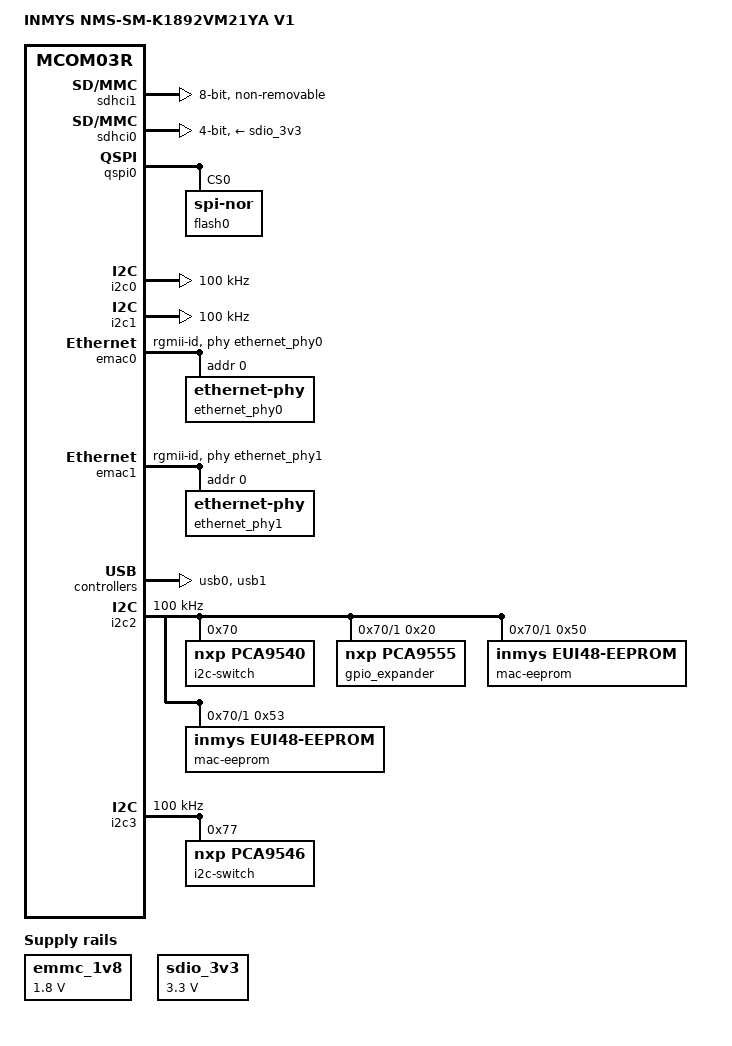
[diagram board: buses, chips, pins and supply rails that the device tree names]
// SPDX-License-Identifier: GPL-2.0+
/*
 * INMYS NMS-SM-K1892VM21YA V1 - U-Boot module description
 *
 * Copyright (C) 2026 INMYS
 */

/dts-v1/;

#include <dt-bindings/gpio/gpio.h>

#include "mcom03r.dtsi"

/ {
	model = "INMYS NMS-SM-K1892VM21YA V1";
	compatible = "inmys,nms-sm-k1892vm21ya",
		     "inmys,nms-sm-k1892",
		     "elvees,mcom03r";

	aliases {
		i2c_pm = &i2c0;
		i2c_gp = &i2c1;
		mmc0 = &sdhci0;
		mmc1 = &sdhci1;
	};

	emmc_1v8: regulator-emmc-1v8 {
		compatible = "regulator-fixed";
		regulator-name = "emmc-1v8";
		regulator-min-microvolt = <1800000>;
		regulator-max-microvolt = <1800000>;
		regulator-always-on;
	};

	sdio_3v3: regulator-sdio-3v3 {
		compatible = "regulator-fixed";
		regulator-name = "sdio-3v3";
		regulator-min-microvolt = <3300000>;
		regulator-max-microvolt = <3300000>;
		regulator-always-on;
	};
};

/* eMMC (D20) on SDMMC1 */
&sdhci1 {
	status = "okay";

	non-removable;
	bus-width = <8>;
	vqmmc-supply = <&emmc_1v8>;
};

/* SMARC SDIO on SDMMC0 */
/* SMARC SDIO (4 bit, 3.3 V only) */
&sdhci0 {
	status = "okay";

	bus-width = <4>;
	vmmc-supply = <&sdio_3v3>;
	vqmmc-supply = <&sdio_3v3>;
	no-1-8-v;
	/*
	 * SDMMC0_CDN (ball BB1) -> SMARC SDIO_CD# (P35).  The controller
	 * reports it in Present State bit 16, so no broken-cd: polling an
	 * empty slot every 10 s is pure noise.
	 */
};

/* Boot flash (D21 W25Q128, 16 MiB) */
&qspi0 {
	status = "okay";

	flash0: flash@0 {
		compatible = "jedec,spi-nor", "spi-flash";
		reg = <0x0>;
		spi-tx-bus-width = <4>;
		spi-rx-bus-width = <4>;
	};
};

/* SMARC serial ports */
ser0: &uart3 { };
ser1: &uart0 { };
ser2: &uart2 { };
ser3: &uart1 { };

/*
 * SMARC I2C_PM (X1.P121/P122) and I2C_GP (X1.S48/S49).  Both are plain
 * module-level buses that go straight to the carrier, so they are enabled
 * unconditionally: nothing is probed on them automatically, they are only
 * used by hand (`i2c dev` / `i2c probe`) and by the carrier device nodes.
 */
i2c_pm: &i2c0 {
	status = "okay";
	clock-frequency = <100000>;
};

i2c_gp: &i2c1 {
	status = "okay";
	clock-frequency = <100000>;
};

/* Ethernet PHYs D9A/D9B (DAP8211RI), one PHY per MDIO bus */
/*
 * The PHY VDDIO is +1V8_AO and the RGMII nets are pulled to it, so the
 * SoC's EMAC pads must be 1.8 V (URB 0x10400140).  Without this the MAC
 * transmits but receives nothing.
 */
&emac0 {
	status = "okay";
	phy-mode = "rgmii-id";
	phy-handle = <&ethernet_phy0>;
	elvees,pads-1v8-en;

	ethernet_phy0: ethernet-phy@0 {
		reg = <0x0>;
	};
};

&emac1 {
	status = "okay";
	phy-mode = "rgmii-id";
	phy-handle = <&ethernet_phy1>;
	elvees,pads-1v8-en;

	ethernet_phy1: ethernet-phy@0 {
		reg = <0x0>;
	};
};

/* USB0 -> TUSB8041 hub, USB1 -> TUSB9261 USB-SATA */
&usb0 {
	status = "okay";
};

&usb1 {
	status = "okay";
};

/*
 * SoC I2C2 -> PCA9540B (D30).  Note that the PCA9540B control register
 * has an enable bit (bit 2) on top of the channel bit (bit 0): writing
 * 0x00 or 0x01 leaves the part disabled and nothing behind the mux
 * answers.  The Linux/U-Boot pca954x drivers handle this themselves,
 * but a raw `i2c mw 70 0.0 <v>` from the prompt needs 0x04 (channel 0,
 * I2C_INT, 3.3 V) or 0x05 (channel 1, I2C_INT_1V8).
 *
 *   channel 0 (I2C_INT, 3.3 V)  EMC2301 fan controller @0x2f,
 *                               TUSB8041 hub @0x44
 *   channel 1 (I2C_INT_1V8)     PCAL6416A @0x20, SN65DSI84 @0x2d,
 *                               ADV7513 @0x39, 24AA025E48 @0x50/@0x53,
 *                               PCF8523 RTC @0x68
 */
&i2c2 {
	status = "okay";
	clock-frequency = <100000>;

	i2c-switch@70 {
		compatible = "nxp,pca9540";
		reg = <0x70>;
		#address-cells = <1>;
		#size-cells = <0>;

		i2c@0 {
			#address-cells = <1>;
			#size-cells = <0>;
			reg = <0>;
		};

		i2c@1 {
			#address-cells = <1>;
			#size-cells = <0>;
			reg = <1>;

			/*
			 * PCAL6416A (D34).  Register compatible with the
			 * PCA9555 as far as U-Boot is concerned, so the
			 * pca953x driver binds to it and `gpio status -a`
			 * lists every pin.
			 */
			gpio_expander: gpio@20 {
				compatible = "nxp,pca9555";
				reg = <0x20>;
				gpio-controller;
				#gpio-cells = <2>;
			};

			/*
			 * Factory MAC addresses, 24AA025E48 EUI-48 EEPROMs
			 * (D11/D12, SOT-23-6).  The address sits in the last
			 * six bytes of the array (0xfa..0xff); the rest of
			 * the array is blank.  Read by
			 * board/elvees/common/factory-settings.c to set
			 * ethaddr/eth1addr instead of a random address.
			 *
			 * D11 has A0/A1 tied to GND (0x50) and drives GBE0,
			 * D12 has A0/A1 tied to +1V8_CORE (0x53) and drives
			 * GBE1.  Swap the indices here if a board turns out
			 * to be wired the other way round.
			 */
			mac-eeprom@50 {
				compatible = "inmys,eui48-eeprom";
				reg = <0x50>;
				inmys,eth-index = <0>;
			};

			mac-eeprom@53 {
				compatible = "inmys,eui48-eeprom";
				reg = <0x53>;
				inmys,eth-index = <1>;
			};
		};
	};
};

/* PCA9546A (D29): CAM0/CAM1/LCD */
&i2c3 {
	status = "okay";
	clock-frequency = <100000>;

	i2c-switch@77 {
		compatible = "nxp,pca9546";
		reg = <0x77>;
		#address-cells = <1>;
		#size-cells = <0>;

		i2c@0 {
			#address-cells = <1>;
			#size-cells = <0>;
			reg = <0>;
		};

		i2c@1 {
			#address-cells = <1>;
			#size-cells = <0>;
			reg = <1>;
		};

		i2c@2 {
			#address-cells = <1>;
			#size-cells = <0>;
			reg = <2>;
		};
	};
};

&gpio0a {
	gpio-line-names = "GPIO6", "nSMB_ALERT", "SER0_CTS", "nINT_GPIOEXP",
		"GPIO11", "nLID", "", "SER0_RTS";
};

&gpio0b {
	gpio-line-names = "SER0_RX", "SER0_TX", "", "WDT_TIME_OUT#",
		"PCIE_A_nRST", "SER3_RX", "SER3_TX", "SER2_RX";
};

&gpio0c {
	gpio-line-names = "SPI0_SCK", "SPI0_MOSI", "SPI0_MISO", "SPI0_SS_IN",
		"SPI0_CS0", "SPI0_CS1", "", "";
};

&gpio0d {
	gpio-line-names = "SER2_TX", "GPIO10", "nCARRIER_SHDWN", "I2C_PM_CK",
		"I2C_PM_DAT", "GPIO1_CAM1_PWR#", "GPIO2_CAM0_RST#", "GPIO12";
};

&gpio1a {
	gpio-line-names = "I2C_GP_CK", "I2C_GP_DAT", "I2C2_SCL", "I2C2_SDA",
		"I2C3_SCL", "I2C3_SDA", "GPIO0_CAM0_PWR#", "GPIO3_CAM1_RST#";
};

&gpio1b {
	gpio-line-names = "HDMI_I2S_SCLK", "HDMI_I2S_LRCLK", "HDMI_I2S_D",
		"", "GPIO7", "GPIO4_HDA_RST#", "SER1_TX", "SER1_RX";
};
